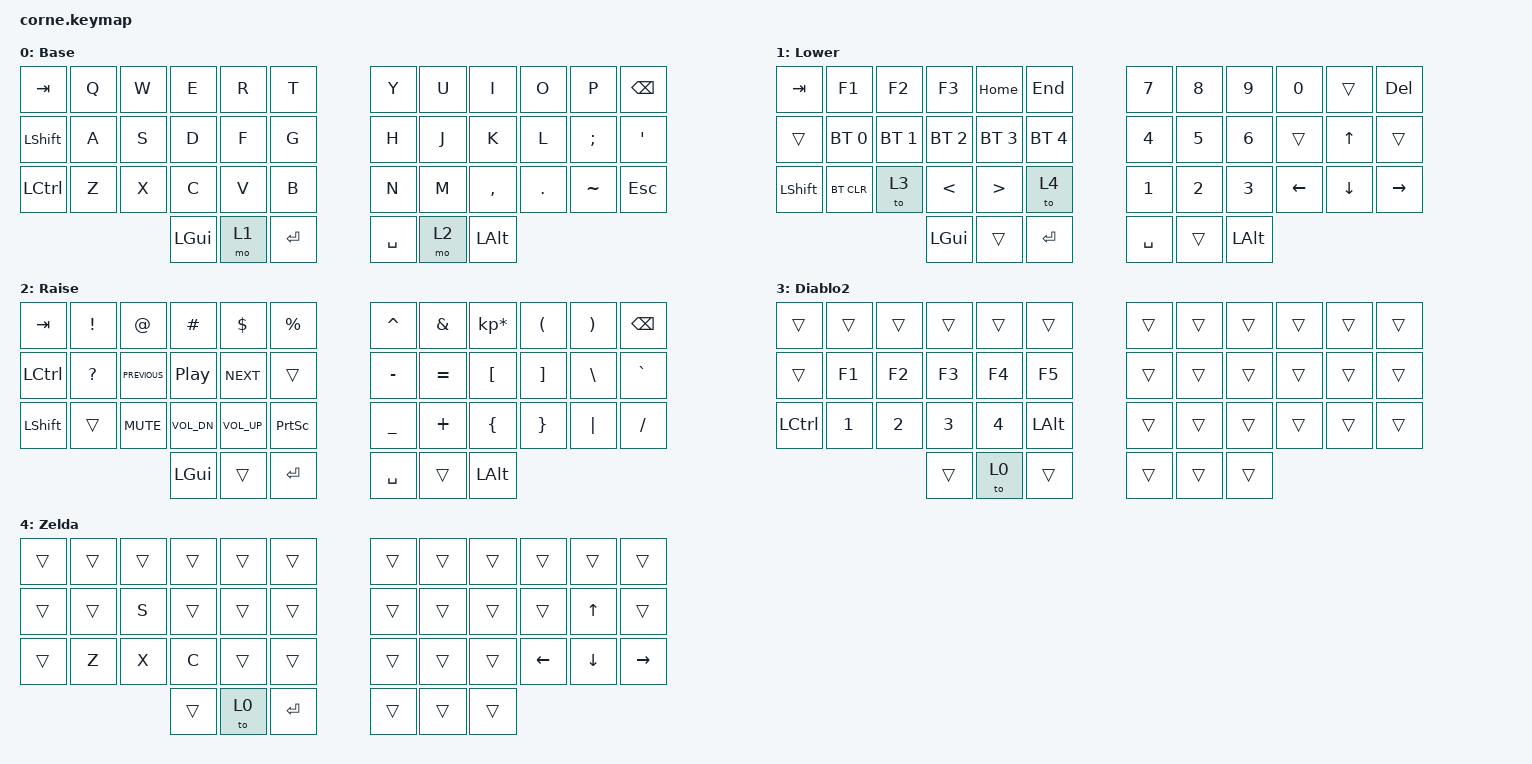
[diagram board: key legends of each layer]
/*
 * Copyright (c) 2020 The ZMK Contributors
 *
 * SPDX-License-Identifier: MIT
 */

#include <behaviors.dtsi>
#include <dt-bindings/zmk/bt.h>
#include <dt-bindings/zmk/keys.h>

/ {
    combos {
        compatible = "zmk,combos";

        clear_bt {
            bindings = <&bt BT_CLR>;
            key-positions = <35 12>;
            timeout-ms = <500>;
            layers = <0>;
        };
    };

    keymap {
        compatible = "zmk,keymap";

        default_layer {
            // -----------------------------------------------------------------------------------------
            // |  TAB |  Q  |  W  |  E  |  R  |  T  |   |  Y  |  U   |  I  |  O  |  P  | BKSP |
            // | CTRL |  A  |  S  |  D  |  F  |  G  |   |  H  |  J   |  K  |  L  |  ;  |  '   |
            // | SHFT |  Z  |  X  |  C  |  V  |  B  |   |  N  |  M   |  ,  |  .  |  /  | ESC  |
            //                    | GUI | LWR | SPC |   | ENT | RSE  | ALT |

            display-name = "Base";
            bindings = <
&kp TAB           &kp Q  &kp W  &kp E     &kp R  &kp T        &kp Y      &kp U  &kp I         &kp O    &kp P      &kp BACKSPACE
&kp LEFT_SHIFT    &kp A  &kp S  &kp D     &kp F  &kp G        &kp H      &kp J  &kp K         &kp L    &kp SEMI   &kp SQT
&kp LEFT_CONTROL  &kp Z  &kp X  &kp C     &kp V  &kp B        &kp N      &kp M  &kp COMMA     &kp DOT  &kp TILDE  &kp ESC
                                &kp LGUI  &mo 1  &kp ENTER    &kp SPACE  &mo 2  &kp LEFT_ALT
            >;
        };

        lower_layer {
            // -----------------------------------------------------------------------------------------
            // |  TAB |  1  |  2  |  3  |  4  |  5  |   |  6  |  7  |  8  |  9  |  0  | BKSP |
            // | BTCLR| BT1 | BT2 | BT3 | BT4 | BT5 |   | LFT | DWN |  UP | RGT |     |      |
            // | SHFT |     |     |     |     |     |   |     |     |     |     |     |      |
            //                    | GUI |     | SPC |   | ENT |     | ALT |

            display-name = "Lower";
            bindings = <
&kp TAB    &kp F1        &kp F2        &kp F3         &kp HOME          &kp END         &kp N7        &kp N8        &kp N9        &kp NUMBER_0    &trans          &kp DEL
&trans     &bt BT_SEL 0  &bt BT_SEL 1  &bt BT_SEL 2   &bt BT_SEL 3      &bt BT_SEL 4    &kp NUMBER_4  &kp N5        &kp NUMBER_6  &trans          &kp UP_ARROW    &trans
&kp LSHFT  &bt BT_CLR    &to 3         &kp LESS_THAN  &kp GREATER_THAN  &to 4           &kp NUMBER_1  &kp NUMBER_2  &kp NUMBER_3  &kp LEFT_ARROW  &kp DOWN_ARROW  &kp RIGHT_ARROW
                                       &kp LGUI       &trans            &kp ENTER       &kp SPACE     &trans        &kp LEFT_ALT
            >;
        };

        raise_layer {
            // -----------------------------------------------------------------------------------------
            // |  TAB |  !  |  @  |  #  |  $  |  %  |   |  ^  |  &  |  *  |  (  |  )  | BKSP |
            // | CTRL |     |     |     |     |     |   |  -  |  =  |  [  |  ]  |  \  |  `   |
            // | SHFT |     |     |     |     |     |   |  _  |  +  |  {  |  }  | "|" |  ~   |
            //                    | GUI |     | SPC |   | ENT |     | ALT |

            display-name = "Raise";
            bindings = <
&kp TAB    &kp EXCL   &kp AT          &kp HASH          &kp DLLR         &kp PERCENT        &kp CARET  &kp AMPS   &kp KP_MULTIPLY  &kp LEFT_PARENTHESIS  &kp RIGHT_PARENTHESIS  &kp BACKSPACE
&kp LCTRL  &kp QMARK  &kp C_PREVIOUS  &kp C_PLAY_PAUSE  &kp C_NEXT       &trans             &kp MINUS  &kp EQUAL  &kp LBKT         &kp RBKT              &kp BSLH               &kp GRAVE
&kp LSHFT  &trans     &kp C_MUTE      &kp C_VOL_DN      &kp C_VOLUME_UP  &kp PRINTSCREEN    &kp UNDER  &kp PLUS   &kp LBRC         &kp RBRC              &kp PIPE               &kp SLASH
                                      &kp LGUI          &trans           &kp ENTER          &kp SPACE  &trans     &kp LEFT_ALT
            >;
        };

        Diablo2 {
            bindings = <
&trans     &trans        &trans        &trans        &trans        &trans          &trans  &trans  &trans  &trans  &trans  &trans
&trans     &kp F1        &kp F2        &kp F3        &kp F4        &kp F5          &trans  &trans  &trans  &trans  &trans  &trans
&kp LCTRL  &kp NUMBER_1  &kp NUMBER_2  &kp NUMBER_3  &kp NUMBER_4  &kp LEFT_ALT    &trans  &trans  &trans  &trans  &trans  &trans
                                       &trans        &to 0         &trans          &trans  &trans  &trans
            >;
        };

        Zelda {
            bindings = <
&trans  &trans  &trans  &trans  &trans  &trans       &trans  &trans  &trans  &trans          &trans          &trans
&trans  &trans  &kp S   &trans  &trans  &trans       &trans  &trans  &trans  &trans          &kp UP_ARROW    &trans
&trans  &kp Z   &kp X   &kp C   &trans  &trans       &trans  &trans  &trans  &kp LEFT_ARROW  &kp DOWN_ARROW  &kp RIGHT
                        &trans  &to 0   &kp ENTER    &trans  &trans  &trans
            >;
        };
    };
};
